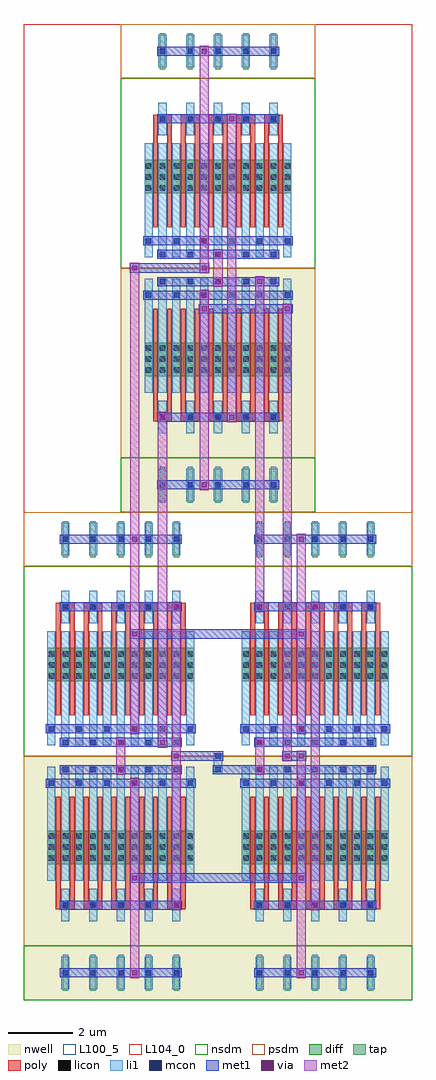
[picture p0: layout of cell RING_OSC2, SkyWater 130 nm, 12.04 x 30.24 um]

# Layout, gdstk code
import gdstk
lib = gdstk.Library(unit=1e-6, precision=1e-09)
def R(c, l, rs):  # rectangles x0, y0, x1, y1
    for r in rs: c.add(gdstk.rectangle(r[:2], r[2:], *l))
def A(c, l, x, y, w, h, nx, ny, dx, dy):  # array of equal rectangles
    R(c, l, [(x+i*dx, y+j*dy, x+i*dx+w, y+j*dy+h) for i in range(nx) for j in range(ny)])
nwell = (64, 20)
diff = (65, 20)
tap = (65, 44)
poly = (66, 20)
licon = (66, 44)
li1 = (67, 20)
mcon = (67, 44)
met1 = (68, 20)
via = (68, 44)
met2 = (69, 20)
nsdm = (93, 44)
psdm = (94, 20)
L100_5 = (100, 5)
L104_0 = (104, 0)

ring_osc2 = lib.new_cell('RING_OSC2')
R(ring_osc2, nwell, [(0,0,6.02,7.56), (6.02,0,12.04,7.56), (3.01,15.12,9.03,22.68)])
R(ring_osc2, diff, [(0.735,4.2,5.285,5.25), (6.755,4.2,11.305,5.25), (0.735,9.87,5.285,10.92), (6.755,9.87,11.305,10.92), (3.745,19.32,8.295,20.37), (3.745,24.99,8.295,26.04)])
A(ring_osc2, tap, 1.205, 0.28, 0.17, 1.12, 5, 2, 0.86, 13.44)
A(ring_osc2, tap, 7.225, 0.28, 0.17, 1.12, 5, 2, 0.86, 13.44)
A(ring_osc2, tap, 4.215, 15.4, 0.17, 1.12, 5, 2, 0.86, 13.44)
A(ring_osc2, poly, 1, 2.805, 0.58, 0.27, 5, 2, 0.86, 9.24)
A(ring_osc2, poly, 7.02, 2.805, 0.58, 0.27, 5, 2, 0.86, 9.24)
A(ring_osc2, poly, 1, 2.94, 0.15, 3.36, 10, 2, 0.43, 5.88)
A(ring_osc2, poly, 7.02, 2.94, 0.15, 3.36, 10, 2, 0.43, 5.88)
A(ring_osc2, poly, 4.01, 17.925, 0.58, 0.27, 5, 2, 0.86, 9.24)
A(ring_osc2, poly, 4.01, 18.06, 0.15, 3.36, 10, 2, 0.43, 5.88)
A(ring_osc2, licon, 1.205, 0.755, 0.17, 0.17, 5, 2, 0.86, 2.1)
A(ring_osc2, licon, 7.225, 0.755, 0.17, 0.17, 5, 2, 0.86, 2.1)
A(ring_osc2, licon, 0.775, 4.32, 0.17, 0.17, 3, 3, 0.43, 0.34)
A(ring_osc2, licon, 1.635, 4.32, 0.17, 0.17, 3, 3, 0.43, 0.34)
A(ring_osc2, licon, 2.495, 4.32, 0.17, 0.17, 3, 3, 0.43, 0.34)
A(ring_osc2, licon, 3.355, 4.32, 0.17, 0.17, 3, 3, 0.43, 0.34)
A(ring_osc2, licon, 4.215, 4.32, 0.17, 0.17, 3, 3, 0.43, 0.34)
A(ring_osc2, licon, 6.795, 4.32, 0.17, 0.17, 3, 3, 0.43, 0.34)
A(ring_osc2, licon, 7.655, 4.32, 0.17, 0.17, 3, 3, 0.43, 0.34)
A(ring_osc2, licon, 8.515, 4.32, 0.17, 0.17, 3, 3, 0.43, 0.34)
A(ring_osc2, licon, 9.375, 4.32, 0.17, 0.17, 3, 3, 0.43, 0.34)
A(ring_osc2, licon, 10.235, 4.32, 0.17, 0.17, 3, 3, 0.43, 0.34)
A(ring_osc2, licon, 0.775, 9.95, 0.17, 0.17, 3, 3, 0.43, 0.34)
A(ring_osc2, licon, 1.635, 9.95, 0.17, 0.17, 3, 3, 0.43, 0.34)
A(ring_osc2, licon, 2.495, 9.95, 0.17, 0.17, 3, 3, 0.43, 0.34)
A(ring_osc2, licon, 3.355, 9.95, 0.17, 0.17, 3, 3, 0.43, 0.34)
A(ring_osc2, licon, 4.215, 9.95, 0.17, 0.17, 3, 3, 0.43, 0.34)
A(ring_osc2, licon, 6.795, 9.95, 0.17, 0.17, 3, 3, 0.43, 0.34)
A(ring_osc2, licon, 7.655, 9.95, 0.17, 0.17, 3, 3, 0.43, 0.34)
A(ring_osc2, licon, 8.515, 9.95, 0.17, 0.17, 3, 3, 0.43, 0.34)
A(ring_osc2, licon, 9.375, 9.95, 0.17, 0.17, 3, 3, 0.43, 0.34)
A(ring_osc2, licon, 10.235, 9.95, 0.17, 0.17, 3, 3, 0.43, 0.34)
A(ring_osc2, licon, 1.205, 12.095, 0.17, 0.17, 5, 2, 0.86, 2.1)
A(ring_osc2, licon, 7.225, 12.095, 0.17, 0.17, 5, 2, 0.86, 2.1)
A(ring_osc2, licon, 4.215, 15.875, 0.17, 0.17, 5, 2, 0.86, 2.1)
A(ring_osc2, licon, 3.785, 19.44, 0.17, 0.17, 3, 3, 0.43, 0.34)
A(ring_osc2, licon, 4.645, 19.44, 0.17, 0.17, 3, 3, 0.43, 0.34)
A(ring_osc2, licon, 5.505, 19.44, 0.17, 0.17, 3, 3, 0.43, 0.34)
A(ring_osc2, licon, 6.365, 19.44, 0.17, 0.17, 3, 3, 0.43, 0.34)
A(ring_osc2, licon, 7.225, 19.44, 0.17, 0.17, 3, 3, 0.43, 0.34)
A(ring_osc2, licon, 3.785, 25.07, 0.17, 0.17, 3, 3, 0.43, 0.34)
A(ring_osc2, licon, 4.645, 25.07, 0.17, 0.17, 3, 3, 0.43, 0.34)
A(ring_osc2, licon, 5.505, 25.07, 0.17, 0.17, 3, 3, 0.43, 0.34)
A(ring_osc2, licon, 6.365, 25.07, 0.17, 0.17, 3, 3, 0.43, 0.34)
A(ring_osc2, licon, 7.225, 25.07, 0.17, 0.17, 3, 3, 0.43, 0.34)
A(ring_osc2, licon, 4.215, 27.215, 0.17, 0.17, 5, 2, 0.86, 2.1)
A(ring_osc2, li1, 1.165, 0.335, 0.25, 1.01, 5, 2, 0.86, 2.1)
A(ring_osc2, li1, 7.185, 0.335, 0.25, 1.01, 5, 2, 0.86, 2.1)
A(ring_osc2, li1, 0.735, 3.695, 0.25, 3.53, 11, 2, 0.43, 4.2)
A(ring_osc2, li1, 6.755, 3.695, 0.25, 3.53, 11, 2, 0.43, 4.2)
A(ring_osc2, li1, 1.165, 11.675, 0.25, 1.01, 5, 2, 0.86, 2.1)
A(ring_osc2, li1, 7.185, 11.675, 0.25, 1.01, 5, 2, 0.86, 2.1)
A(ring_osc2, li1, 4.175, 15.455, 0.25, 1.01, 5, 2, 0.86, 2.1)
A(ring_osc2, li1, 3.745, 18.815, 0.25, 3.53, 11, 2, 0.43, 4.2)
A(ring_osc2, li1, 4.175, 26.795, 0.25, 1.01, 5, 2, 0.86, 2.1)
R(ring_osc2, li1, [(5.895,7.055,6.145,7.645)])
A(ring_osc2, mcon, 1.205, 0.755, 0.17, 0.17, 5, 2, 0.86, 2.1)
A(ring_osc2, mcon, 7.225, 0.755, 0.17, 0.17, 5, 2, 0.86, 2.1)
A(ring_osc2, mcon, 0.775, 6.635, 0.17, 0.17, 6, 2, 0.86, 1.68)
A(ring_osc2, mcon, 6.795, 6.635, 0.17, 0.17, 6, 2, 0.86, 1.68)
A(ring_osc2, mcon, 1.205, 7.055, 0.17, 0.17, 5, 2, 0.86, 0.84)
A(ring_osc2, mcon, 7.225, 7.055, 0.17, 0.17, 5, 2, 0.86, 0.84)
A(ring_osc2, mcon, 1.205, 12.095, 0.17, 0.17, 5, 2, 0.86, 2.1)
A(ring_osc2, mcon, 7.225, 12.095, 0.17, 0.17, 5, 2, 0.86, 2.1)
A(ring_osc2, mcon, 4.215, 15.875, 0.17, 0.17, 5, 2, 0.86, 2.1)
A(ring_osc2, mcon, 3.785, 21.755, 0.17, 0.17, 6, 2, 0.86, 1.68)
A(ring_osc2, mcon, 4.215, 22.175, 0.17, 0.17, 5, 2, 0.86, 0.84)
A(ring_osc2, mcon, 4.215, 27.215, 0.17, 0.17, 5, 2, 0.86, 2.1)
R(ring_osc2, mcon, [(5.935,7.055,6.105,7.225), (5.935,7.475,6.105,7.645)])
R(ring_osc2, met1, [(1.12,0.7,4.9,0.98), (7.14,0.7,10.92,0.98), (1.12,2.8,4.9,3.08), (7.14,2.8,10.92,3.08), (3.28,3.64,8.76,3.92), (0.69,6.58,5.33,6.86), (6.71,6.58,11.35,6.86), (1.12,7,4.9,7.28), (5.85,7,10.92,7.28), (4.57,7.42,6.19,7.7), (8.01,7.42,8.76,7.7), (1.12,7.84,4.9,8.12), (7.14,7.84,10.92,8.12), (0.69,8.26,5.33,8.54), (6.71,8.26,11.35,8.54), (3.28,11.2,8.76,11.48), (1.12,12.04,4.9,12.32), (7.14,12.04,10.92,12.32), (1.12,14.14,4.9,14.42), (7.14,14.14,10.92,14.42), (4.13,15.82,7.91,16.1), (4.13,17.92,7.91,18.2), (5.43,21.28,8.33,21.56), (3.7,21.7,8.34,21.98), (4.13,22.12,7.91,22.4), (3.28,22.54,5.75,22.82), (4.13,22.96,7.91,23.24), (3.7,23.38,8.34,23.66), (4.13,27.16,7.91,27.44), (4.13,29.26,7.91,29.54)])
A(ring_osc2, via, 3.365, 0.765, 0.15, 0.15, 1, 3, 0, 2.94)
A(ring_osc2, via, 8.525, 0.765, 0.15, 0.15, 1, 3, 0, 2.94)
A(ring_osc2, via, 4.655, 2.865, 0.15, 0.15, 1, 3, 0, 4.62)
A(ring_osc2, via, 3.365, 8.325, 0.15, 0.15, 1, 3, 0, 2.94)
A(ring_osc2, via, 8.525, 8.325, 0.15, 0.15, 1, 3, 0, 2.94)
A(ring_osc2, via, 5.515, 21.765, 0.15, 0.15, 1, 3, 0, 0.84)
R(ring_osc2, via, [(8.955,2.865,9.105,3.015), (2.935,7.065,3.085,7.215), (7.235,7.065,7.385,7.215), (8.095,7.485,8.245,7.635), (8.525,7.485,8.675,7.635), (2.935,7.905,3.085,8.055), (4.225,7.905,4.375,8.055), (7.235,7.905,7.385,8.055), (7.235,12.105,7.385,12.255), (8.955,12.105,9.105,12.255), (5.515,15.885,5.665,16.035), (4.225,17.985,4.375,18.135), (6.375,17.985,6.525,18.135), (5.515,21.345,5.665,21.495), (8.095,21.345,8.245,21.495), (5.945,22.185,6.095,22.335), (7.235,22.185,7.385,22.335), (3.365,22.605,3.515,22.755), (5.945,23.025,6.095,23.175), (6.375,27.225,6.525,27.375), (5.515,29.325,5.665,29.475)])
R(ring_osc2, met2, [(3.3,0.68,3.58,6.88), (8.46,0.68,8.74,7.72), (4.59,2.78,4.87,12.34), (8.89,2.78,9.17,12.34), (2.87,6.98,3.15,8.14), (7.17,6.98,7.45,8.14), (8.03,7.4,8.31,21.58), (4.16,7.82,4.44,18.22), (3.3,8.24,3.58,22.84), (8.46,8.24,8.74,14.44), (7.17,12.02,7.45,22.42), (5.45,15.8,5.73,22), (6.31,17.9,6.59,27.46), (5.88,22.1,6.16,23.26), (5.45,22.52,5.73,29.56)])
R(ring_osc2, nsdm, [(0,0,6.02,1.68), (6.02,0,12.04,1.68), (0,7.56,6.02,13.44), (6.02,7.56,12.04,13.44), (3.01,15.12,9.03,16.8), (3.01,22.68,9.03,28.56)])
R(ring_osc2, psdm, [(0,1.68,6.02,7.56), (6.02,1.68,12.04,7.56), (0,13.44,6.02,15.12), (6.02,13.44,12.04,15.12), (3.01,16.8,9.03,22.68), (3.01,28.56,9.03,30.24)])
R(ring_osc2, L100_5, [(0,0,12.04,30.24)])
R(ring_osc2, L104_0, [(0,0,12.04,30.24)])

lib.write_gds('RING_OSC2.gds')
